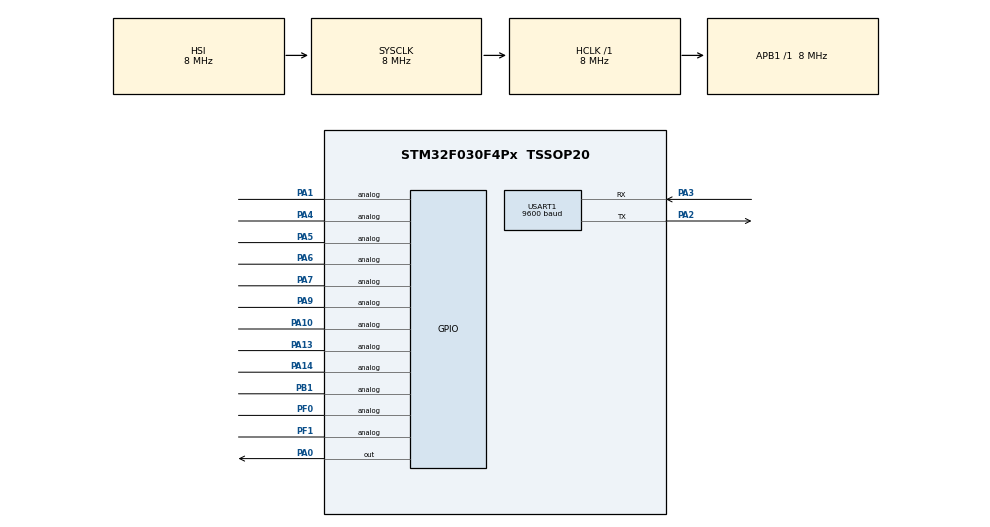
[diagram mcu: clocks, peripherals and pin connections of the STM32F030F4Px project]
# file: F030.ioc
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Dma.Request0=USART1_RX
Dma.USART1_RX.0.Direction=DMA_PERIPH_TO_MEMORY
Dma.USART1_RX.0.Instance=DMA1_Channel3
Dma.USART1_RX.0.MemDataAlignment=DMA_MDATAALIGN_BYTE
Dma.USART1_RX.0.MemInc=DMA_MINC_ENABLE
Dma.USART1_RX.0.Mode=DMA_NORMAL
Dma.USART1_RX.0.PeriphDataAlignment=DMA_PDATAALIGN_BYTE
Dma.USART1_RX.0.PeriphInc=DMA_PINC_DISABLE
Dma.USART1_RX.0.Priority=DMA_PRIORITY_LOW
Mcu.Family=STM32F0
Mcu.Name=STM32F030F4Px
Mcu.Package=TSSOP20
NVIC.DMA1_Channel2_3_IRQn=true\:0\:0\:false\:false\:true\:false\:true
NVIC.RTC_IRQn=true\:0\:0\:false\:false\:true\:true\:true
NVIC.USART1_IRQn=true\:0\:0\:false\:false\:true\:true\:true
PA0.Signal=GPIO_Output
PA1.Signal=GPIO_Analog
PA10.Signal=GPIO_Analog
PA13.Signal=GPIO_Analog
PA14.Signal=GPIO_Analog
PA2.Mode=Asynchronous
PA2.Signal=USART1_TX
PA3.Mode=Asynchronous
PA3.Signal=USART1_RX
PA4.Signal=GPIO_Analog
PA5.Signal=GPIO_Analog
PA6.Signal=GPIO_Analog
PA7.Signal=GPIO_Analog
PA9.Signal=GPIO_Analog
PB1.Signal=GPIO_Analog
PF0-OSC_IN.Signal=GPIO_Analog
PF1-OSC_OUT.Signal=GPIO_Analog
ProjectManager.HeapSize=0x200
ProjectManager.StackSize=0x400
ProjectManager.TargetToolchain=MDK-ARM V5.27
RCC.AHBFreq_Value=8000000
RCC.APB1Freq_Value=8000000
RCC.APB1TimFreq_Value=8000000
RCC.HCLKFreq_Value=8000000
RCC.PLLMUL=RCC_PLL_MUL4
RCC.SYSCLKFreq_VALUE=8000000
RTC.Alarm=RTC_ALARM_A
RTC.AlarmMaskDateWeekDay=RTC_ALARMMASK_DATEWEEKDAY
RTC.AsynchPrediv=127
RTC.SynchPrediv=312
USART1.BaudRate=9600
USART1.VirtualMode-Asynchronous=VM_ASYNC
VP_RTC_VS_RTC_Activate.Mode=RTC_Enabled
VP_RTC_VS_RTC_Alarm_A_Intern.Mode=Alarm A
VP_RTC_VS_RTC_Calendar.Mode=RTC_Calendar
board=custom

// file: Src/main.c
/* USER CODE BEGIN Header */
/**
  ******************************************************************************
  * @file           : main.c
  * @brief          : Main program body
  ******************************************************************************
  * @attention
  *
  * <h2><center>&copy; Copyright (c) 2019 STMicroelectronics.
  * All rights reserved.</center></h2>
  *
  * This software component is licensed by ST under BSD 3-Clause license,
  * the "License"; You may not use this file except in compliance with the
  * License. You may obtain a copy of the License at:
  *                        opensource.org/licenses/BSD-3-Clause
  *
  ******************************************************************************
  */
/* USER CODE END Header */

#include "main.h"
#include "dma.h"
#include "rtc.h"
#include "usart.h"
#include "gpio.h"

/* USER CODE BEGIN Includes */
#include <stdio.h>
#include <string.h>
#include "dht11.h"
#include "nbiotdriver.h"
#include "codec.h"
/* USER CODE END Includes */

void SystemClock_Config(void);

/* USER CODE BEGIN 0 */
int fputc(int ch,FILE *f)   //串口重定向
{
	while((USART1->ISR&0x40)==0);
	USART1->TDR=ch;
	return ch;
}
/* USER CODE END 0 */

int main(void)
{
  /* USER CODE BEGIN 1 */
	uint32_t ATRecTime = HAL_GetTick();

  /* USER CODE END 1 */

  /* MCU Configuration--------------------------------------------------------*/

  /* Reset of all peripherals, Initializes the Flash interface and the Systick. */
  HAL_Init();

  /* Configure the system clock */
  SystemClock_Config();

  /* USER CODE BEGIN SysInit */
/***********************************切记：要先初始化DMA、再初始化串口1*******************/
  /* USER CODE END SysInit */

  /* Initialize all configured peripherals */
  MX_GPIO_Init();
  MX_DMA_Init();
  MX_USART1_UART_Init();

  MX_RTC_Init();
  /* USER CODE BEGIN 2 */
  HAL_Delay(100);
	EnableUartIT();
	NB_Init();
	printf("system init ok!\n");

	DHT11_Rst();
	while(NB_Task()){};
	HAL_Delay(2000);//等待电容充电

	HAL_RTC_AlarmAEventCallback(&hrtc);
  /* USER CODE END 2 */

  /* Infinite loop */
  while (1)
  {

    /* USER CODE BEGIN 3 */

		/*读取温度*/
		DHT11_Read_Data(&temperature,&humidity);	//读取温湿度值

		/*发送数据并接收20s*/
		TriggerSendData();                          //触发发送数据
		ATRecTime = HAL_GetTick();                  //重置接收时间
		while(!((HAL_GetTick()-ATRecTime > 5000) && NBSendAccessFlag))//NBSendAccessFlag = 1表示发送数据成功,并等待接收20s
		{
			NB_Task();
		}
		//printf ("temperature = %d ,humidity = %d\n",temperature,humidity);
		temperature = 0; humidity = 0;//复位温湿度值
		NBSendAccessFlag = 0;         //置位为未发送

		/*实现命令编号累计*/

		i ++;                         //实现命令编号累计

		/*把所有引脚配置为模拟
		*解决串口150uA漏电问题，实测有效：
		*1.先把所有引脚配置为模拟模式
		*2.再将STM32设置为STOP模式
		*3.再将串口设置为正常推挽输出模式
		*4.PA0读取温湿度要设置为高速模式
		*/

		GPIO_InitTypeDef GPIO_InitStruct = {0};
		GPIO_InitStruct.Pin = GPIO_PIN_0|GPIO_PIN_2|GPIO_PIN_3;
		GPIO_InitStruct.Mode = GPIO_MODE_ANALOG;
		GPIO_InitStruct.Pull = GPIO_NOPULL;
		HAL_GPIO_Init(GPIOA, &GPIO_InitStruct);
		//HAL_Delay (200);

		/*进入STOP模式*/
		HAL_PWR_EnterSTOPMode(PWR_LOWPOWERREGULATOR_ON, PWR_STOPENTRY_WFI);

		/*唤醒之后首先初始化时钟、GPIO、串口的GPIO、串口初始化*/
		SystemClock_Config();

		GPIO_InitStruct.Pin = GPIO_PIN_2|GPIO_PIN_3;
		GPIO_InitStruct.Mode = GPIO_MODE_AF_PP;
		GPIO_InitStruct.Pull = GPIO_NOPULL;
		GPIO_InitStruct.Speed = GPIO_SPEED_FREQ_HIGH;
		GPIO_InitStruct.Alternate = GPIO_AF1_USART1;
		HAL_GPIO_Init(GPIOA, &GPIO_InitStruct);

		MX_GPIO_Init();
		MX_USART1_UART_Init();

  }
  /* USER CODE END 3 */
}

void SystemClock_Config(void)
{
  RCC_OscInitTypeDef RCC_OscInitStruct = {0};
  RCC_ClkInitTypeDef RCC_ClkInitStruct = {0};
  RCC_PeriphCLKInitTypeDef PeriphClkInit = {0};

  /** Initializes the CPU, AHB and APB busses clocks
  */
  RCC_OscInitStruct.OscillatorType = RCC_OSCILLATORTYPE_HSI|RCC_OSCILLATORTYPE_LSI;
  RCC_OscInitStruct.HSIState = RCC_HSI_ON;
  RCC_OscInitStruct.HSICalibrationValue = RCC_HSICALIBRATION_DEFAULT;
  RCC_OscInitStruct.LSIState = RCC_LSI_ON;
  RCC_OscInitStruct.PLL.PLLState = RCC_PLL_NONE;
  if (HAL_RCC_OscConfig(&RCC_OscInitStruct) != HAL_OK)
  {
    Error_Handler();
  }
  /** Initializes the CPU, AHB and APB busses clocks
  */
  RCC_ClkInitStruct.ClockType = RCC_CLOCKTYPE_HCLK|RCC_CLOCKTYPE_SYSCLK
                              |RCC_CLOCKTYPE_PCLK1;
  RCC_ClkInitStruct.SYSCLKSource = RCC_SYSCLKSOURCE_HSI;
  RCC_ClkInitStruct.AHBCLKDivider = RCC_SYSCLK_DIV1;
  RCC_ClkInitStruct.APB1CLKDivider = RCC_HCLK_DIV1;

  if (HAL_RCC_ClockConfig(&RCC_ClkInitStruct, FLASH_LATENCY_0) != HAL_OK)
  {
    Error_Handler();
  }
  PeriphClkInit.PeriphClockSelection = RCC_PERIPHCLK_USART1|RCC_PERIPHCLK_RTC;
  PeriphClkInit.Usart1ClockSelection = RCC_USART1CLKSOURCE_PCLK1;
  PeriphClkInit.RTCClockSelection = RCC_RTCCLKSOURCE_LSI;
  if (HAL_RCCEx_PeriphCLKConfig(&PeriphClkInit) != HAL_OK)
  {
    Error_Handler();
  }
}

void Error_Handler(void)
{
}

/************************ (C) COPYRIGHT STMicroelectronics *****END OF FILE****/
